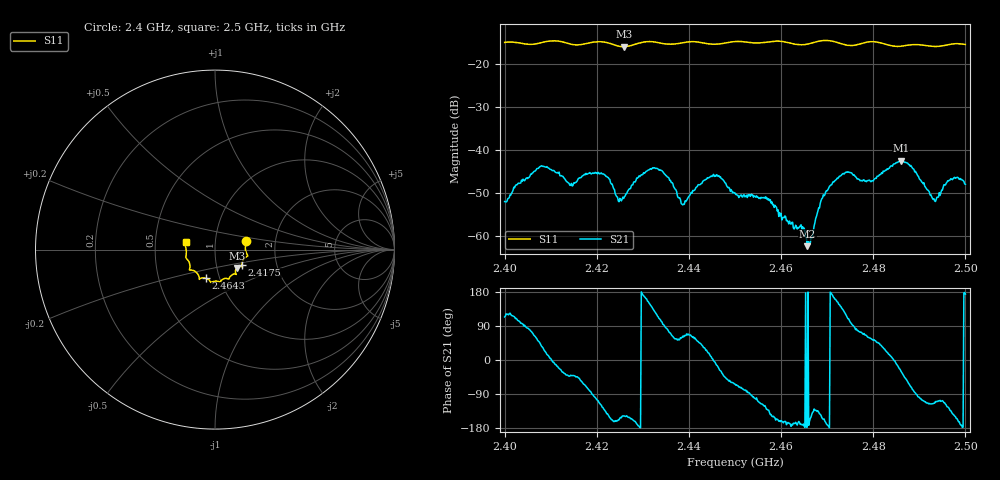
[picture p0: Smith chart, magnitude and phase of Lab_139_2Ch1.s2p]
# Hz S RI R 50
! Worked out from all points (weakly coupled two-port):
!   601 points, 2.4 GHz to 2.5 GHz, reference 50 ohm
!   highest |S21| = -42.47 dB at 2.486 GHz (marker M1); lowest = -62.4 dB at 2.4657 GHz (marker M2)
!   lowest |S11| = -16.0 dB at 2.4258 GHz (marker M3), VSWR 1.38, Z = 62.3 - j13.1 ohm
!   |S11| at or under -10 dB: start of sweep to end of sweep
!   S12 and S22 are empty: the file has one direction only
!   S11 on the Smith chart (normalised r, x): 2.4 GHz: 1.41, +0.14; 2.4175 GHz: 1.33, -0.23; 2.4643 GHz: 0.86, -0.28; 2.5 GHz: 0.72, +0.06
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2.4e9  0.1719 0.0477  -0.001 0.0023  0 0  0 0
2.408e9  0.1763 -0.0209  0.00525 0.00391  0 0  0 0
2.414333e9  0.1631 -0.049  0.00296 -0.0025  0 0  0 0
2.416667e9  0.1515 -0.0739  0.00271 -0.00399  0 0  0 0
2.4175e9  0.1505 -0.0835  0.00201 -0.00474  0 0  0 0
2.4215e9  0.1526 -0.0956  -0.0033 -0.00408  0 0  0 0
2.425833e9  0.1211 -0.1024  -0.00231 -0.00145  0 0  0 0
2.433333e9  0.1129 -0.1363  -0.00241 0.00547  0 0  0 0
2.438833e9  0.0798 -0.1582  0.00114 0.00203  0 0  0 0
2.445167e9  0.0543 -0.1608  0.00501 0.000221  0 0  0 0
2.45e9  0.0288 -0.1803  0.00141 -0.00283  0 0  0 0
2.457167e9  -0.0149 -0.1799  -0.00176 -0.00193  0 0  0 0
2.464333e9  -0.0491 -0.1599  -0.00132 -0.000254  0 0  0 0
2.465667e9  -0.065 -0.1572  -0.000758 -3.62e-05  0 0  0 0
2.466667e9  -0.0753 -0.1583  -0.000753 -0.000556  0 0  0 0
2.468667e9  -0.0869 -0.1647  -0.00214 -0.00144  0 0  0 0
2.471667e9  -0.0872 -0.159  -0.00414 0.00145  0 0  0 0
2.483333e9  -0.1394 -0.0902  0.00587 0.00161  0 0  0 0
2.486e9  -0.1482 -0.0627  0.00656 -0.00368  0 0  0 0
2.493167e9  -0.1596 -0.0128  -0.00111 -0.00247  0 0  0 0
2.4965e9  -0.167 0.0234  -0.00276 -0.00348  0 0  0 0
2.5e9  -0.1634 0.0416  -0.00396 0.000426  0 0  0 0
